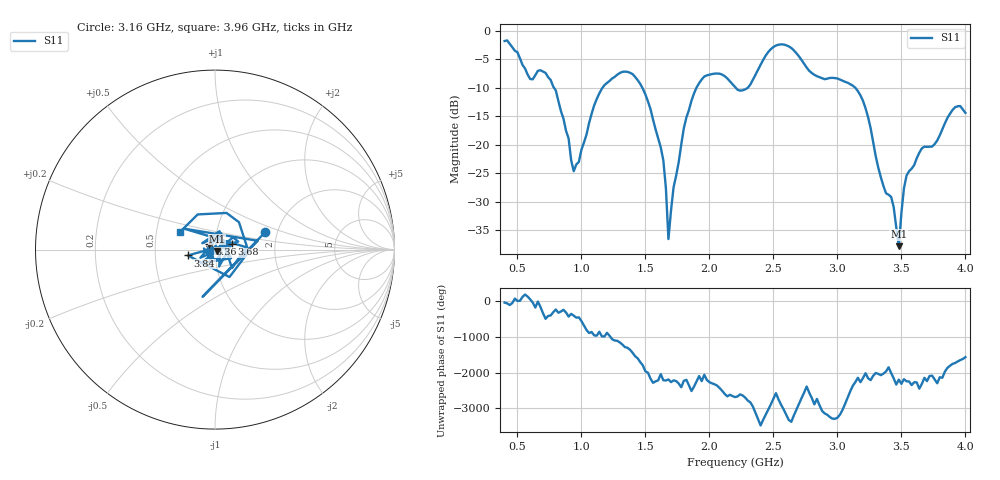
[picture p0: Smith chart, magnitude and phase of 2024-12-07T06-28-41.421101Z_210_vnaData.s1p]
!Created with skrf (http://scikit-rf.org).
# Hz S RI R 50.0
!freq ReS11 ImS11
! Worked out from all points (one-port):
!   181 points, 400 MHz to 4 GHz, reference 50 ohm
!   lowest |S11| = -37.8 dB at 3.48 GHz (marker M1), VSWR 1.03, Z = 51.1 - j0.717 ohm
!   |S11| at or under -10 dB: 786.7 MHz to 1.164 GHz (377.2 MHz wide, 38.7 % of centre); 1.476 GHz to 1.898 GHz (422 MHz wide, 25 % of centre); 3.141 GHz to end of sweep (the widest 3 of 4)
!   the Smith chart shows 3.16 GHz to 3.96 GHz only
!   S11 on the Smith chart (normalised r, x): 3.16 GHz: 1.73, +0.37; 3.36 GHz: 0.94, +0.06; 3.68 GHz: 1.20, +0.07; 3.84 GHz: 0.74, -0.05; 3.96 GHz: 0.66, +0.13
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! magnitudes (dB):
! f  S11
! 400 MHz  -1.8
! 600 MHz  -8.4
! 720 MHz  -7.4
! 860 MHz  -15.4
! 940 MHz  -24.6
! 1.14 GHz  -11.0
! 1.3 GHz  -7.4
! 1.42 GHz  -8.1
! 1.54 GHz  -13.7
! 1.64 GHz  -22.7
! 1.68 GHz  -36.5
! 1.76 GHz  -23.1
! 1.82 GHz  -15.2
! 1.94 GHz  -8.5
! 2.2 GHz  -9.9
! 2.5 GHz  -2.8
! 2.66 GHz  -3.4
! 3.1 GHz  -9.3
! 3.16 GHz  -10.6
! 3.36 GHz  -27.2
! 3.42 GHz  -29.1
! 3.48 GHz  -37.8
! 3.52 GHz  -27.6
! 3.56 GHz  -24.6
! 3.68 GHz  -20.3
! 3.84 GHz  -16.2
! 3.96 GHz  -13.2
! 4 GHz  -14.4
